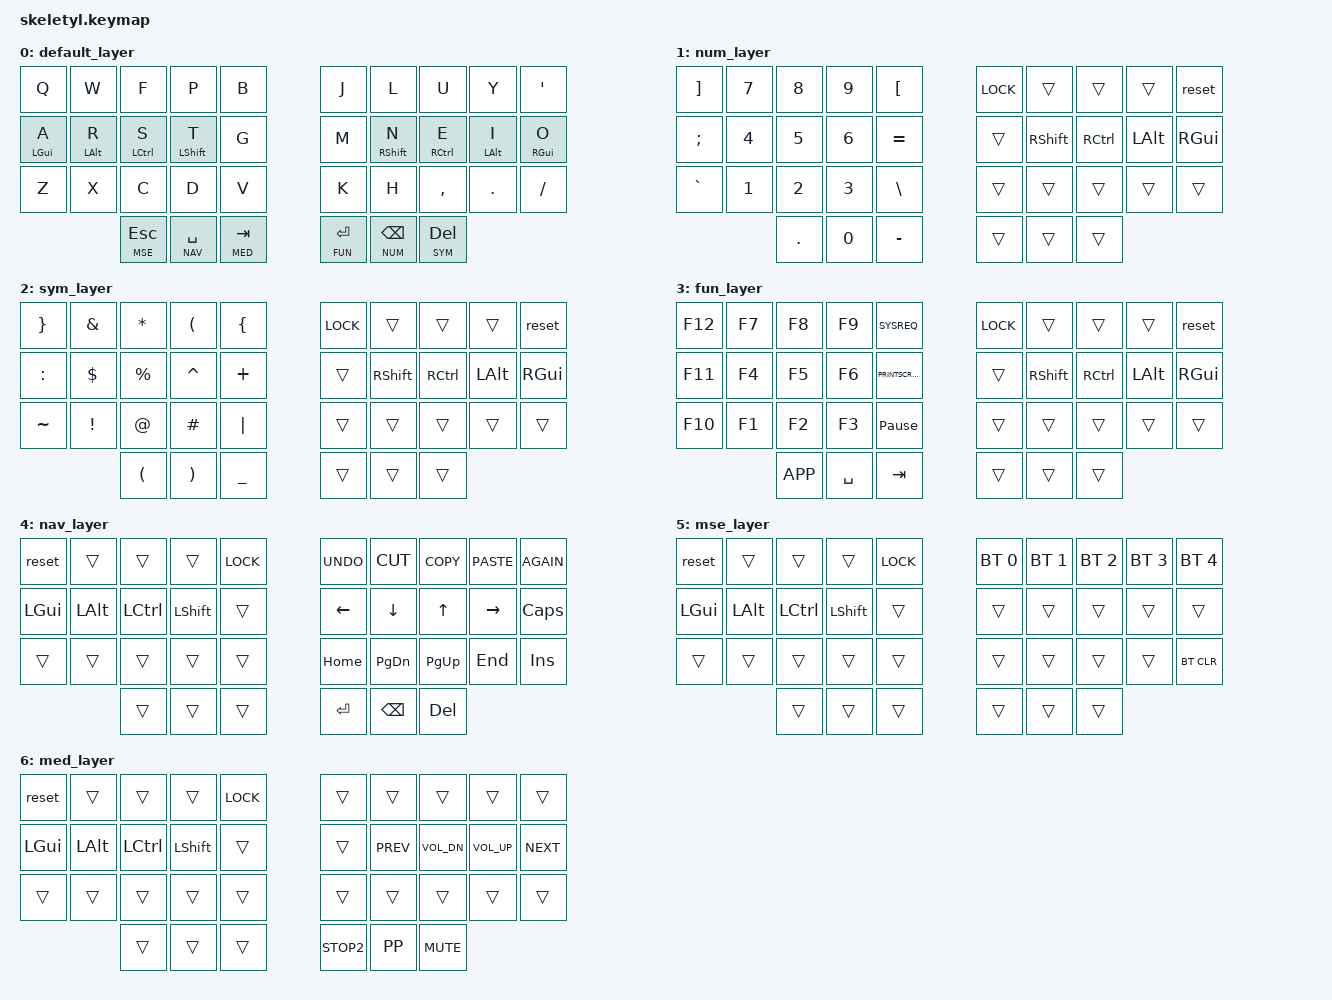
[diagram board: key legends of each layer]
#include <behaviors.dtsi>
#include <dt-bindings/zmk/keys.h>
#include <dt-bindings/zmk/bt.h>

#define DEFAULT 0
#define NUM 1
#define SYM 2
#define FUN 3
#define NAV 4
#define MSE 5
#define MED 6

/ {
  chosen {
    zmk,matrix_transform = &skeletyl_transform;
  };

  behaviors {
    hm: homerow_mods {
      compatible = "zmk,behavior-hold-tap";
      label = "HOMEROW_MODS";
      #binding-cells = <2>;
      tapping-term-ms = <350>;
      quick_tap_ms = <0>;
      flavor = "tap-preferred";
      bindings = <&kp>, <&kp>;
    };
    hms: homerow_mods_shift {
      compatible = "zmk,behavior-hold-tap";
      label = "HOMEROW_MODS";
      #binding-cells = <2>;
      tapping-term-ms = <150>;
      quick_tap_ms = <0>;
      flavor = "tap-preferred";
      bindings = <&kp>, <&kp>;
    };
    lm: layertap_mods {
      compatible = "zmk,behavior-hold-tap";
      label = "LAYERTAP_MODS";
      #binding-cells = <2>;
      tapping-term-ms = <150>;
      quick_tap_ms = <50>;
      flavor = "hold-preferred";
      bindings = <&kp>, <&kp>;
    };
  };

  keymap {
        compatible = "zmk,keymap";

        default_layer {
            bindings = <
	&kp Q      &kp W      &kp F       &kp P        &kp B          &kp J &kp L        &kp U       &kp Y      &kp SQT
	&hm LGUI A &hm LALT R &hm LCTRL S &hms LSHFT T &kp G          &kp M &hms RSHFT N &hm RCTRL E &hm LALT I &hm RGUI O
	&kp Z      &kp X      &kp C       &kp D        &kp V          &kp K &kp H        &kp COMMA   &kp DOT    &kp FSLH
	                  &lm MSE ESC   &lm NAV SPACE   &lm MED TAB              &lm FUN RET  &lm NUM BSPC  &lm SYM DEL
            >;
        };
        num_layer {
            bindings = <
	&kp RBKT  &kp N7 &kp N8 &kp N9 &kp LBKT        &kp K_LOCK &trans  &trans     &trans   &reset
	&kp SEMI  &kp N4 &kp N5 &kp N6 &kp EQUAL       &trans &kp RSHFT  &kp RCTRL  &kp LALT  &kp RGUI
	&kp GRAVE &kp N1 &kp N2 &kp N3 &kp BSLH        &trans &trans  &trans &trans &trans
	                  &kp DOT   &kp N0   &kp MINUS        &trans &trans &trans
            >;
        };
        sym_layer {
            bindings = <
	&kp RBRC  &kp AMPS &kp STAR  &kp LPAR  &kp LBRC        &kp K_LOCK &trans  &trans     &trans   &reset
	&kp COLON &kp DLLR &kp PRCNT &kp CARET &kp PLUS        &trans &kp RSHFT  &kp RCTRL  &kp LALT  &kp RGUI
	&kp TILDE &kp EXCL &kp AT    &kp HASH  &kp PIPE        &trans &trans  &trans &trans &trans
	                  &kp LPAR  &kp RPAR   &kp UNDER              &trans &trans &trans
            >;
        };
        fun_layer {
            bindings = <
	&kp F12 &kp F7 &kp F8 &kp F9 &kp SYSREQ        &kp K_LOCK &trans  &trans     &trans   &reset
	&kp F11 &kp F4 &kp F5 &kp F6 &PRINTSCREEN      &trans &kp RSHFT  &kp RCTRL  &kp LALT  &kp RGUI
	&kp F10 &kp F1 &kp F2 &kp F3 &kp PAUSE_BREAK   &trans &trans  &trans &trans &trans
	                  &kp K_APP   &kp SPACE   &kp TAB     &trans &trans &trans
            >;
        };
        nav_layer {
            bindings = <
	&reset   &trans   &trans    &trans     &kp K_LOCK   &kp K_UNDO &kp K_CUT &kp K_COPY &kp K_PASTE &kp K_AGAIN
	&kp LGUI &kp LALT &kp LCTRL &kp LSHFT &trans       &kp LEFT   &kp DOWN  &kp UP     &kp RIGHT   &kp CAPS
	&trans   &trans   &trans    &trans     &trans       &kp HOME   &kp PG_DN &kp PG_UP  &kp END     &kp INS
	                  &trans   &trans   &trans                 &kp RET &kp BSPC &kp DEL
            >;
        };
        mse_layer {
            bindings = <
	&reset   &trans   &trans    &trans     &kp K_LOCK   &bt BT_SEL 0 &bt BT_SEL 1 &bt BT_SEL 2 &bt BT_SEL 3 &bt BT_SEL 4
	&kp LGUI &kp LALT &kp LCTRL &kp LSHFT &trans       &trans &trans &trans &trans &trans
	&trans   &trans   &trans    &trans     &trans       &trans &trans &trans &trans &bt BT_CLR
	                  &trans   &trans   &trans                 &trans &trans &trans
            >;
        };
        med_layer {
            bindings = <
	&reset   &trans   &trans    &trans     &kp K_LOCK   &trans &trans     &trans       &trans       &trans
	&kp LGUI &kp LALT &kp LCTRL &kp LSHFT &trans       &trans &kp K_PREV &kp K_VOL_DN &kp K_VOL_UP &kp K_NEXT
	&trans   &trans   &trans    &trans     &trans       &trans &trans     &trans       &trans       &trans
	                  &trans   &trans   &trans                 &kp K_STOP2 &kp K_PP &kp K_MUTE
            >;
        };
    };
};
